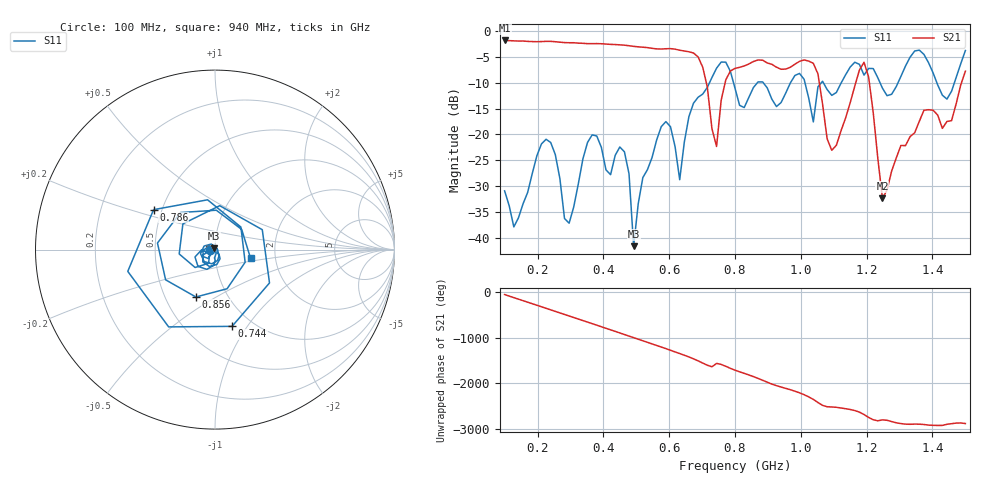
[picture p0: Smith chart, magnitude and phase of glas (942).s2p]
! NanoVNA-App
! Date: 2025-09-25 16:02:48
! Start: 100MHz Stop: 1,5GHz Points: 101
! S-Parameter data: F S11 S21 S12 S22
# Hz S RI R 50
!  Frequency  S11_Real  S11_Imag  S21_Real  S21_Imag  S12_Real  S12_Imag  S22_Real  S22_Imag
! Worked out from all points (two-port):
!   101 points, 100 MHz to 1.5 GHz, reference 50 ohm
!   highest |S21| = -1.80 dB at 100 MHz (marker M1); lowest = -32.4 dB at 1.248 GHz (marker M2)
!   |S21| within 3 dB of the highest: start of sweep to 684.5 MHz
!   lowest |S11| = -41.6 dB at 492 MHz (marker M3), VSWR 1.02, Z = 49.5 + j0.651 ohm
!   |S11| at or under -10 dB: start of sweep to 722.4 MHz; 795.5 MHz to 867.8 MHz (72.24 MHz wide, 8.69 % of centre); 886.1 MHz to 968.4 MHz (82.32 MHz wide, 8.88 % of centre) (the widest 3 of 7)
!   S12 and S22 are empty: the file has one direction only
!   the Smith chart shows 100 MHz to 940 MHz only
!   S11 on the Smith chart (normalised r, x): 100 MHz: 0.94, -0.01; 744 MHz: 0.81, -0.85; 786 MHz: 0.45, +0.24; 856 MHz: 0.71, -0.41; 940 MHz: 1.48, -0.15
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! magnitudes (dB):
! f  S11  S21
! 100 MHz  -30.9  -1.8
! 128 MHz  -37.9  -1.9
! 226 MHz  -20.9  -2.0
! 296 MHz  -37.2  -2.2
! 338 MHz  -24.7  -2.4
! 464 MHz  -23.3  -2.7
! 492 MHz  -41.6  -2.9
! 576 MHz  -18.5  -3.5
! 632 MHz  -28.8  -3.7
! 702 MHz  -12.2  -7.0
! 744 MHz  -7.2  -22.3
! 786 MHz  -7.8  -7.7
! 800 MHz  -11.0  -7.2
! 856 MHz  -10.9  -5.9
! 940 MHz  -13.8  -7.4
! 996 MHz  -8.2  -5.8
! 1.038 GHz  -17.6  -6.2
! 1.094 GHz  -12.4  -23.1
! 1.192 GHz  -8.5  -6.0
! 1.248 GHz  -11.0  -32.4
! 1.276 GHz  -12.2  -27.1
! 1.5 GHz  -3.8  -7.8
